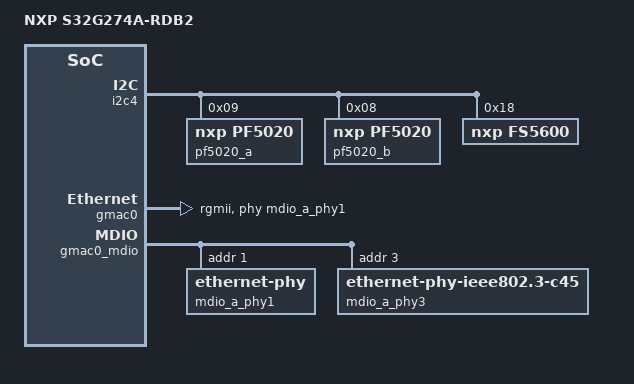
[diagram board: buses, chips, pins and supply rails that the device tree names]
// SPDX-License-Identifier: GPL-2.0-or-later
/*
 * Copyright 2019-2020,2022 NXP
 */

/dts-v1/;
#include "fsl-s32g274ardb.dtsi"

/ {
	model = "NXP S32G274A-RDB2";
};

/* PMIC */
&i2c4 {
	pf5020_a {
		compatible = "nxp,pf5020";
		reg = <0x9>;
		status = "okay";
	};

	pf5020_b {
		compatible = "nxp,pf5020";
		reg = <0x8>;
		status = "okay";
	};

	fs5600 {
		compatible = "nxp,fs5600";
		reg = <0x18>;
		status = "okay";
	};
};

&gmac0 {
    status = "okay";
    phy-mode = "rgmii";
    /* Connected to KSZ9031 MDIO_A */
    phy-handle = <&mdio_a_phy1>;
};

&gmac0_mdio {
    #address-cells = <1>;
    #size-cells = <0>;
    /* KSZ9031 GMAC */
    mdio_a_phy1: ethernet-phy@1 {
        max-speed = <1000>;
        reg = <1>;
    };
    /* ARQ107 */
    mdio_a_phy3: ethernet-phy@3 {
        compatible = "ethernet-phy-ieee802.3-c45";
        reg = <3>;
    };
};
